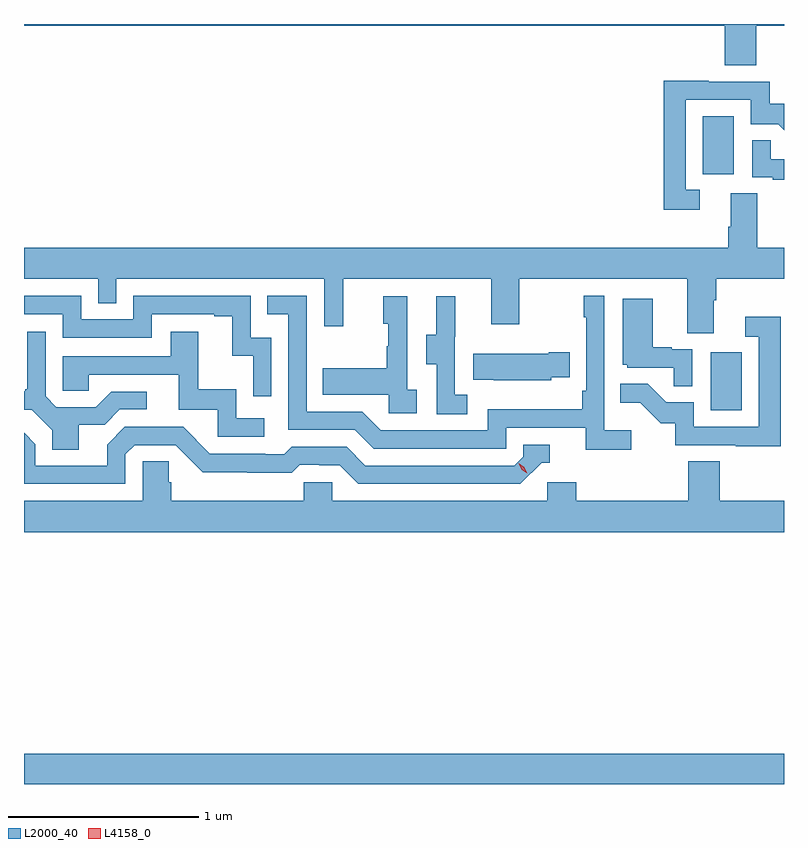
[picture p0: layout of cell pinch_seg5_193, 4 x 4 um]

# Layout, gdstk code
import gdstk
lib = gdstk.Library(unit=1e-6, precision=1e-09)
def R(c, l, rs):  # rectangles x0, y0, x1, y1
    for r in rs: c.add(gdstk.rectangle(r[:2], r[2:], *l))
def P(c, l, *ps):  # polygons
    for p in ps: c.add(gdstk.Polygon(p, *l))
L2000_40 = (2000, 40)
L4158_0 = (4158, 0)

pinch_seg5_193 = lib.new_cell('pinch_seg5_193')
R(pinch_seg5_193, L2000_40, [(992.916,902.054,996.916,902.212), (996.53,904.02,996.694,904.327), (996.488,905.262,996.652,905.569)])
P(pinch_seg5_193, L2000_40, [(996.77,906.044),(996.916,906.044),(996.916,906.054),(992.916,906.054),(992.916,906.044),(996.605,906.044),(996.605,905.836),(996.77,905.836)],
  [(996.472,905.181),(996.399,905.181),(996.399,905.655),(996.741,905.655),(996.741,905.526),(996.885,905.526),(996.916,905.495),(996.916,905.634),(996.84,905.634),(996.84,905.751),(996.521,905.751),(996.521,905.756),(996.283,905.756),(996.283,905.076),(996.472,905.076)],
  [(996.916,905.343),(996.845,905.343),(996.845,905.441),(996.75,905.441),(996.75,905.247),(996.857,905.247),(996.857,905.235),(996.916,905.235)],
  [(996.547,904.6),(996.56,904.6),(996.56,904.712),(996.916,904.712),(996.916,904.876),(996.775,904.876),(996.775,905.162),(996.635,905.162),(996.635,904.988),(996.623,904.988),(996.623,904.876),(992.916,904.876),(992.916,904.712),(993.306,904.712),(993.306,904.585),(993.402,904.585),(993.402,904.712),(994.497,904.712),(994.497,904.464),(994.595,904.464),(994.595,904.712),(995.375,904.712),(995.375,904.473),(995.523,904.473),(995.523,904.712),(996.407,904.712),(996.407,904.426),(996.547,904.426)],
  [(996.112,903.916),(995.97,903.916),(995.97,904.624),(995.862,904.624),(995.862,904.511),(995.874,904.511),(995.874,904.123),(995.854,904.123),(995.854,904.027),(995.358,904.027),(995.358,903.915),(994.794,903.915),(994.695,904.014),(994.404,904.014),(994.404,904.623),(994.195,904.623),(994.195,904.527),(994.308,904.527),(994.308,903.918),(994.658,903.918),(994.757,903.819),(995.454,903.819),(995.454,903.93),(995.873,903.93),(995.873,903.814),(996.112,903.814)],
  [(994.218,904.404),(994.11,904.404),(994.11,904.623),(993.492,904.623),(993.492,904.5),(993.216,904.5),(993.216,904.623),(992.916,904.623),(992.916,904.527),(993.12,904.527),(993.12,904.404),(993.588,904.404),(993.588,904.527),(993.917,904.527),(993.917,904.515),(994.013,904.515),(994.013,904.307),(994.122,904.307),(994.122,904.095),(994.218,904.095)],
  [(994.984,904.13),(994.932,904.13),(994.932,904.621),(994.808,904.621),(994.808,904.476),(994.834,904.476),(994.834,904.358),(994.824,904.358),(994.824,904.243),(994.489,904.243),(994.489,904.103),(994.836,904.103),(994.836,904.005),(994.984,904.005)],
  [(995.248,904.103),(995.184,904.103),(995.184,904.407),(995.186,904.407),(995.186,904.621),(995.087,904.621),(995.087,904.419),(995.033,904.419),(995.033,904.264),(995.088,904.264),(995.088,904),(995.248,904)],
  [(996.432,904.341),(996.326,904.341),(996.326,904.354),(996.226,904.354),(996.226,904.609),(996.068,904.609),(996.068,904.26),(996.09,904.26),(996.09,904.245),(996.337,904.245),(996.337,904.147),(996.432,904.147)],
  [(996.899,904.513),(996.711,904.513),(996.711,904.407),(996.783,904.407),(996.783,903.933),(996.441,903.933),(996.441,904.062),(996.297,904.062),(996.199,904.16),(996.055,904.16),(996.055,904.061),(996.159,904.061),(996.266,903.954),(996.343,903.954),(996.343,903.837),(996.661,903.837),(996.661,903.832),(996.899,903.832)],
  [(993.205,903.946),(993.34,903.946),(993.42,904.026),(993.562,904.026),(993.562,904.119),(993.374,904.119),(993.293,904.038),(993.087,904.038),(993.03,904.095),(993.03,904.435),(992.933,904.435),(992.933,904.132),(992.922,904.132),(992.922,904.12),(992.916,904.12),(992.916,904.023),(992.958,904.023),(993.065,903.916),(993.065,903.814),(993.205,903.814)],
  [(994.18,903.978),(994.032,903.978),(994.032,904.132),(993.833,904.132),(993.833,904.435),(993.689,904.435),(993.689,904.305),(993.12,904.305),(993.12,904.125),(993.257,904.125),(993.257,904.209),(993.731,904.209),(993.731,904.023),(993.936,904.023),(993.936,903.882),(994.18,903.882)],
  [(995.691,904.196),(995.789,904.196),(995.789,904.326),(995.678,904.326),(995.678,904.318),(995.281,904.318),(995.281,904.181),(995.389,904.181),(995.389,904.178),(995.691,904.178)],
  [(993.45,903.789),(993.498,903.837),(993.714,903.837),(993.856,903.695),(994.092,903.695),(994.092,903.693),(994.325,903.693),(994.367,903.735),(994.47,903.735),(994.47,903.732),(994.577,903.732),(994.676,903.633),(995.529,903.633),(995.64,903.744),(995.683,903.744),(995.683,903.84),(995.544,903.84),(995.544,903.777),(995.496,903.729),(994.713,903.729),(994.614,903.828),(994.325,903.828),(994.286,903.789),(994.187,903.789),(994.187,903.792),(993.894,903.792),(993.753,903.933),(993.447,903.933),(993.353,903.839),(993.353,903.729),(992.976,903.729),(992.976,903.843),(992.916,903.903),(992.916,903.633),(993.45,903.633)],
  [(996.916,903.544),(996.578,903.544),(996.578,903.752),(996.413,903.752),(996.413,903.544),(995.822,903.544),(995.822,903.642),(995.67,903.642),(995.67,903.544),(994.539,903.544),(994.539,903.642),(994.389,903.642),(994.389,903.544),(993.692,903.544),(993.692,903.642),(993.677,903.642),(993.677,903.752),(993.54,903.752),(993.54,903.544),(992.916,903.544),(992.916,903.38),(996.916,903.38)])
P(pinch_seg5_193, L4158_0, [(995.565,903.69),(995.535,903.709),(995.519,903.742),(995.519,903.742),(995.52,903.742),(995.55,903.722),(995.565,903.69),(995.565,903.69)])

lib.write_gds('pinch_seg5_193.gds')
